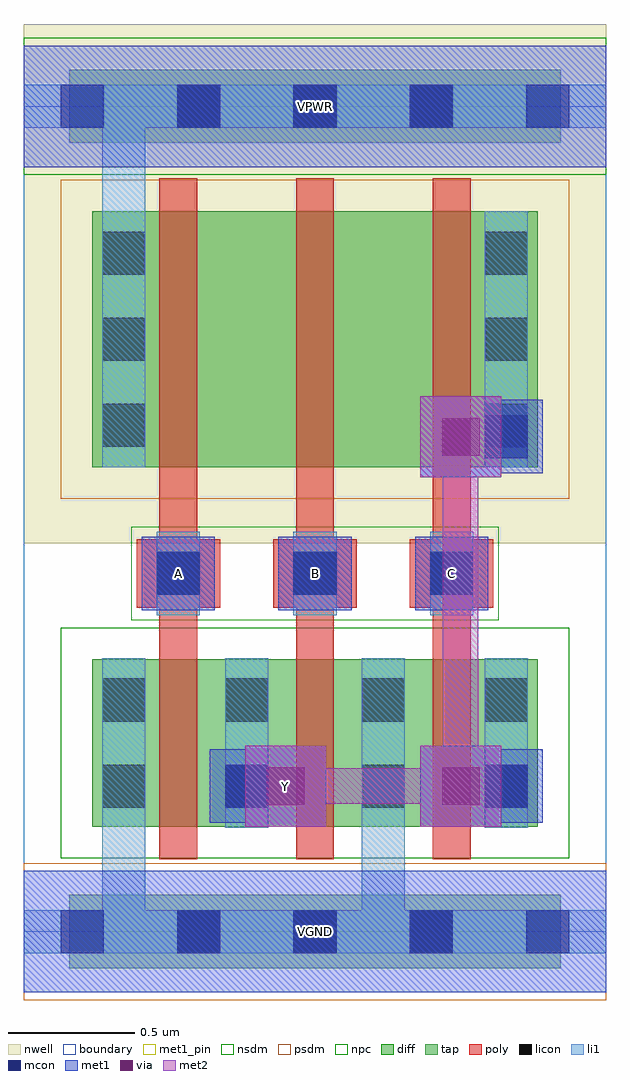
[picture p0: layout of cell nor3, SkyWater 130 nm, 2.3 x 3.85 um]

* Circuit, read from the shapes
.subckt nor3 A B C VGND VPWR Y
XM1 Y A VGND VGND sky130_fd_pr__nfet_01v8 w=0.66 l=0.15
XM2 VGND B Y VGND sky130_fd_pr__nfet_01v8 w=0.66 l=0.15
XM3 Y C VGND VGND sky130_fd_pr__nfet_01v8 w=0.66 l=0.15
XM4 n1 A VPWR VPWR sky130_fd_pr__pfet_01v8 w=1.01 l=0.15
XM5 n2 B n1 VPWR sky130_fd_pr__pfet_01v8 w=1.01 l=0.15
XM6 Y C n2 VPWR sky130_fd_pr__pfet_01v8 w=1.01 l=0.15
.ends

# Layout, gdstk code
import gdstk
lib = gdstk.Library(unit=1e-6, precision=1e-09)
def R(c, l, rs):  # rectangles x0, y0, x1, y1
    for r in rs: c.add(gdstk.rectangle(r[:2], r[2:], *l))
def A(c, l, x, y, w, h, nx, ny, dx, dy):  # array of equal rectangles
    R(c, l, [(x+i*dx, y+j*dy, x+i*dx+w, y+j*dy+h) for i in range(nx) for j in range(ny)])
nwell = (64, 20)
diff = (65, 20)
tap = (65, 44)
poly = (66, 20)
licon = (66, 44)
li1 = (67, 20)
mcon = (67, 44)
met1_pin = (68, 16)
met1 = (68, 20)
via = (68, 44)
met2 = (69, 20)
nsdm = (93, 44)
psdm = (94, 20)
npc = (95, 20)
boundary = (235, 4)

nor3 = lib.new_cell('nor3')
R(nor3, nwell, [(0,1.535,2.3,3.585)])
R(nor3, diff, [(0.27,0.415,2.03,1.075), (0.27,1.835,2.03,2.845)])
R(nor3, tap, [(0.18,-0.145,2.12,0.145), (0.18,3.115,2.12,3.405)])
A(nor3, poly, 0.535, 0.285, 0.15, 2.69, 3, 1, 0.54, 0)
A(nor3, poly, 0.445, 1.28, 0.33, 0.27, 3, 1, 0.54, 0)
A(nor3, licon, 0.605, -0.085, 0.17, 0.17, 3, 2, 0.46, 3.26)
A(nor3, licon, 0.525, 1.33, 0.17, 0.17, 3, 1, 0.54, 0)
A(nor3, licon, 0.31, 1.915, 0.17, 0.17, 1, 3, 0, 0.34)
A(nor3, licon, 1.82, 1.915, 0.17, 0.17, 1, 3, 0, 0.34)
R(nor3, licon, [(0.31,0.49,0.48,0.66), (0.795,0.49,0.965,0.66), (1.335,0.49,1.505,0.66), (1.82,0.49,1.99,0.66), (0.31,0.83,0.48,1), (0.795,0.83,0.965,1), (1.335,0.83,1.505,1), (1.82,0.83,1.99,1)])
A(nor3, li1, 0.525, 1.25, 0.17, 0.33, 3, 1, 0.54, 0)
R(nor3, li1, [(0,-0.085,2.3,0.085), (0.31,-0.085,0.48,1.08), (1.335,-0.085,1.505,1.08), (0.31,0.41,0.48,1.08), (0.795,0.41,0.965,1.08), (1.335,0.41,1.505,1.08), (1.82,0.41,1.99,1.08), (0.31,1.835,0.48,2.845), (0.31,1.835,0.48,3.345), (1.82,1.835,1.99,2.845), (0,3.175,2.3,3.345)])
A(nor3, mcon, 0.145, -0.085, 0.17, 0.17, 5, 2, 0.46, 3.26)
A(nor3, mcon, 0.525, 1.33, 0.17, 0.17, 3, 1, 0.54, 0)
R(nor3, mcon, [(0.795,0.49,0.965,0.66), (1.82,0.49,1.99,0.66), (1.82,1.87,1.99,2.04)])
A(nor3, met1_pin, 0.465, 1.27, 0.29, 0.29, 3, 1, 0.54, 0)
R(nor3, met1_pin, [(0,-0.24,2.3,0.24), (0.875,0.415,1.195,0.735), (0,3.02,2.3,3.5)])
A(nor3, met1, 0.465, 1.27, 0.29, 0.29, 3, 1, 0.54, 0)
R(nor3, met1, [(0,-0.24,2.3,0.24), (0.875,0.415,1.195,0.735), (1.565,0.415,1.885,0.735), (0.735,0.43,1.025,0.72), (1.76,0.43,2.05,0.72), (0.81,0.505,1.105,0.645), (1.655,0.505,1.975,0.645), (1.565,1.795,1.885,2.115), (1.76,1.81,2.05,2.1), (1.655,1.885,1.975,2.025), (0,3.02,2.3,3.5)])
R(nor3, via, [(0.96,0.5,1.11,0.65), (1.65,0.5,1.8,0.65), (1.65,1.88,1.8,2.03)])
R(nor3, met2, [(0.875,0.415,1.195,0.735), (1.565,0.415,1.885,0.735), (0.965,0.505,1.795,0.645), (1.655,0.505,1.795,2.025), (1.565,1.795,1.885,2.115)])
R(nor3, nsdm, [(0.145,0.29,2.155,1.2), (0,2.99,2.3,3.53)])
R(nor3, psdm, [(0,-0.27,2.3,0.27), (0.145,1.71,2.155,2.97)])
R(nor3, npc, [(0.425,1.23,1.875,1.6)])
R(nor3, boundary, [(0,0,2.3,3.26)])
nor3.add(gdstk.Label('A', (0.61,1.415), layer=68, texttype=5))
nor3.add(gdstk.Label('B', (1.15,1.415), layer=68, texttype=5))
nor3.add(gdstk.Label('C', (1.69,1.415), layer=68, texttype=5))
nor3.add(gdstk.Label('Y', (1.035,0.575), layer=68, texttype=5))
nor3.add(gdstk.Label('VPWR', (1.15,3.26), layer=68, texttype=5))
nor3.add(gdstk.Label('VGND', (1.15,0), layer=68, texttype=5))
nor3.add(gdstk.Label('A', (0.61,1.415), layer=68, texttype=16))
nor3.add(gdstk.Label('B', (1.15,1.415), layer=68, texttype=16))
nor3.add(gdstk.Label('C', (1.69,1.415), layer=68, texttype=16))
nor3.add(gdstk.Label('Y', (1.035,0.575), layer=68, texttype=16))
nor3.add(gdstk.Label('VPWR', (1.15,3.26), layer=68, texttype=16))
nor3.add(gdstk.Label('VGND', (1.15,0), layer=68, texttype=16))

lib.write_gds('nor3.gds')
